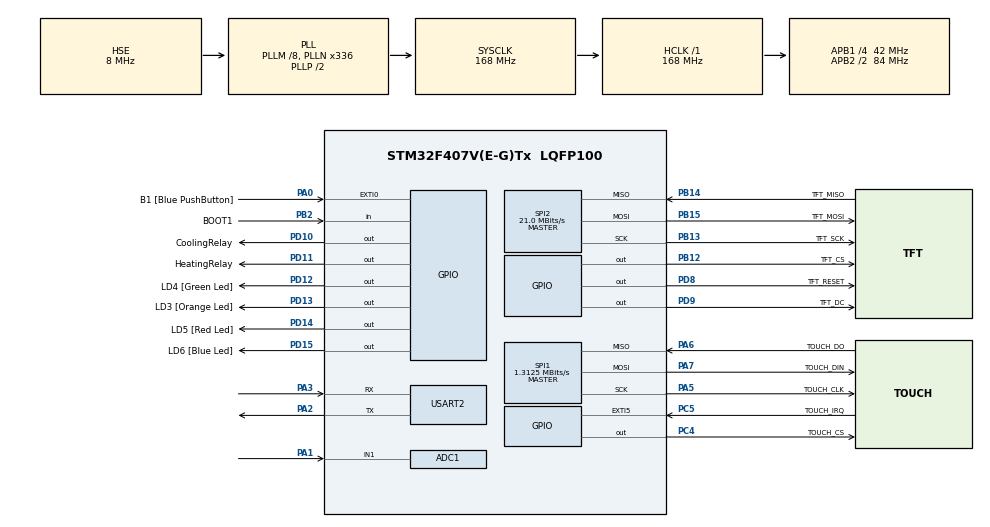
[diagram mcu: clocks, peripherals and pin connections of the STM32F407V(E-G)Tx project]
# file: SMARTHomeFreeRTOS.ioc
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ADC1.Channel-2\#ChannelRegularConversion=ADC_CHANNEL_1
ADC1.ContinuousConvMode=DISABLE
ADC1.EOCSelection=ADC_EOC_SINGLE_CONV
ADC1.NbrOfConversionFlag=1
ADC1.Rank-2\#ChannelRegularConversion=1
ADC1.Resolution=ADC_RESOLUTION_12B
ADC1.SamplingTime-2\#ChannelRegularConversion=ADC_SAMPLETIME_3CYCLES
ADC1.master=1
Dma.Request0=SPI2_TX
Dma.SPI2_TX.0.Direction=DMA_MEMORY_TO_PERIPH
Dma.SPI2_TX.0.FIFOMode=DMA_FIFOMODE_DISABLE
Dma.SPI2_TX.0.Instance=DMA1_Stream4
Dma.SPI2_TX.0.MemDataAlignment=DMA_MDATAALIGN_HALFWORD
Dma.SPI2_TX.0.MemInc=DMA_MINC_ENABLE
Dma.SPI2_TX.0.Mode=DMA_NORMAL
Dma.SPI2_TX.0.PeriphDataAlignment=DMA_PDATAALIGN_HALFWORD
Dma.SPI2_TX.0.PeriphInc=DMA_PINC_DISABLE
Dma.SPI2_TX.0.Priority=DMA_PRIORITY_LOW
Mcu.Family=STM32F4
Mcu.Name=STM32F407V(E-G)Tx
Mcu.Package=LQFP100
NVIC.ADC_IRQn=true\:7\:0\:true\:false\:true\:true\:true\:true
NVIC.DMA1_Stream4_IRQn=true\:0\:0\:true\:true\:true\:2\:false\:true\:true
NVIC.EXTI9_5_IRQn=true\:0\:0\:true\:true\:true\:1\:true\:true\:true
NVIC.PriorityGroup=NVIC_PRIORITYGROUP_4
NVIC.TIM6_DAC_IRQn=true\:15\:0\:false\:false\:true\:false\:true\:true
NVIC.TimeBase=TIM6_DAC_IRQn
NVIC.TimeBaseIP=TIM6
NVIC.USART2_IRQn=true\:0\:0\:true\:false\:false\:true\:true\:true
PA0-WKUP.GPIO_Label=B1 [Blue PushButton]
PA0-WKUP.GPIO_ModeDefaultEXTI=GPIO_MODE_EVT_RISING
PA0-WKUP.GPIO_PuPd=GPIO_NOPULL
PA0-WKUP.Signal=GPXTI0
PA1.Signal=ADCx_IN1
PA2.Mode=Asynchronous
PA2.Signal=USART2_TX
PA3.Mode=Asynchronous
PA3.Signal=USART2_RX
PA5.GPIO_Label=TOUCH_CLK
PA5.Mode=Full_Duplex_Master
PA5.Signal=SPI1_SCK
PA6.GPIO_Label=TOUCH_DO
PA6.Mode=Full_Duplex_Master
PA6.Signal=SPI1_MISO
PA7.GPIO_Label=TOUCH_DIN
PA7.Mode=Full_Duplex_Master
PA7.Signal=SPI1_MOSI
PB12.GPIO_Label=TFT_CS
PB12.PinState=GPIO_PIN_RESET
PB12.Signal=GPIO_Output
PB13.GPIO_Label=TFT_SCK
PB13.Mode=Full_Duplex_Master
PB13.Signal=SPI2_SCK
PB14.GPIO_Label=TFT_MISO
PB14.Mode=Full_Duplex_Master
PB14.Signal=SPI2_MISO
PB15.GPIO_Label=TFT_MOSI
PB15.Mode=Full_Duplex_Master
PB15.Signal=SPI2_MOSI
PB2.GPIO_Label=BOOT1
PB2.GPIO_Mode=GPIO_MODE_INPUT
PB2.GPIO_PuPd=GPIO_NOPULL
PB2.Signal=GPIO_Input
PC14-OSC32_IN.GPIO_Label=PC14-OSC32_IN
PC14-OSC32_IN.Mode=LSE-External-Oscillator
PC14-OSC32_IN.Signal=RCC_OSC32_IN
PC15-OSC32_OUT.GPIO_Label=PC15-OSC32_OUT
PC15-OSC32_OUT.Mode=LSE-External-Oscillator
PC15-OSC32_OUT.Signal=RCC_OSC32_OUT
PC4.GPIO_Label=TOUCH_CS
PC4.PinState=GPIO_PIN_SET
PC4.Signal=GPIO_Output
PC5.GPIO_Label=TOUCH_IRQ
PC5.GPIO_ModeDefaultEXTI=GPIO_MODE_IT_FALLING
PC5.GPIO_PuPd=GPIO_PULLUP
PC5.Signal=GPXTI5
PD10.GPIO_Label=CoolingRelay
PD10.PinState=GPIO_PIN_SET
PD10.Signal=GPIO_Output
PD11.GPIO_Label=HeatingRelay
PD11.PinState=GPIO_PIN_SET
PD11.Signal=GPIO_Output
PD12.GPIO_Label=LD4 [Green Led]
PD12.GPIO_PuPd=GPIO_NOPULL
PD12.GPIO_Speed=GPIO_SPEED_FREQ_LOW
PD12.Signal=GPIO_Output
PD13.GPIO_Label=LD3 [Orange Led]
PD13.GPIO_PuPd=GPIO_NOPULL
PD13.GPIO_Speed=GPIO_SPEED_FREQ_LOW
PD13.Signal=GPIO_Output
PD14.GPIO_Label=LD5 [Red Led]
PD14.GPIO_PuPd=GPIO_NOPULL
PD14.GPIO_Speed=GPIO_SPEED_FREQ_LOW
PD14.Signal=GPIO_Output
PD15.GPIO_Label=LD6 [Blue Led]
PD15.GPIO_PuPd=GPIO_NOPULL
PD15.GPIO_Speed=GPIO_SPEED_FREQ_LOW
PD15.Signal=GPIO_Output
PD8.GPIO_Label=TFT_RESET
PD8.Signal=GPIO_Output
PD9.GPIO_Label=TFT_DC
PD9.Signal=GPIO_Output
PH0-OSC_IN.GPIO_Label=PH0-OSC_IN
PH0-OSC_IN.Mode=HSE-External-Oscillator
PH0-OSC_IN.Signal=RCC_OSC_IN
PH1-OSC_OUT.GPIO_Label=PH1-OSC_OUT
PH1-OSC_OUT.Mode=HSE-External-Oscillator
PH1-OSC_OUT.Signal=RCC_OSC_OUT
ProjectManager.HeapSize=0x200
ProjectManager.StackSize=0x400
ProjectManager.TargetToolchain=STM32CubeIDE
RCC.48MHZClocksFreq_Value=48000000
RCC.AHBFreq_Value=168000000
RCC.APB1CLKDivider=RCC_HCLK_DIV4
RCC.APB1Freq_Value=42000000
RCC.APB1TimFreq_Value=84000000
RCC.APB2CLKDivider=RCC_HCLK_DIV2
RCC.APB2Freq_Value=84000000
RCC.APB2TimFreq_Value=168000000
RCC.CortexFreq_Value=168000000
RCC.HCLKFreq_Value=168000000
RCC.HSE_VALUE=8000000
RCC.HSI_VALUE=16000000
RCC.PLLM=8
RCC.PLLN=336
RCC.PLLQ=7
RCC.PLLSourceVirtual=RCC_PLLSOURCE_HSE
RCC.SYSCLKFreq_VALUE=168000000
RCC.SYSCLKSource=RCC_SYSCLKSOURCE_PLLCLK
RCC.VCOOutputFreq_Value=336000000
RTC.Date=13
RTC.Format=RTC_FORMAT_BIN
RTC.HourFormat=RTC_HOURFORMAT_12
RTC.Minutes=30
RTC.Month=RTC_MONTH_AUGUST
RTC.TimeFormat=RTC_HOURFORMAT12_AM
RTC.WeekDay=RTC_WEEKDAY_TUESDAY
RTC.Year=24
SH.ADCx_IN1.0=ADC1_IN1,IN1
SPI1.BaudRatePrescaler=SPI_BAUDRATEPRESCALER_64
SPI1.CalculateBaudRate=1.3125 MBits/s
SPI1.Direction=SPI_DIRECTION_2LINES
SPI1.Mode=SPI_MODE_MASTER
SPI1.VirtualType=VM_MASTER
SPI2.BaudRatePrescaler=SPI_BAUDRATEPRESCALER_2
SPI2.CalculateBaudRate=21.0 MBits/s
SPI2.Direction=SPI_DIRECTION_2LINES
SPI2.Mode=SPI_MODE_MASTER
SPI2.VirtualType=VM_MASTER
USART2.VirtualMode=VM_ASYNC
VP_RTC_VS_RTC_Activate.Mode=RTC_Enabled
VP_RTC_VS_RTC_Calendar.Mode=RTC_Calendar
VP_SYS_VS_tim6.Mode=TIM6
board=STM32F407G-DISC1

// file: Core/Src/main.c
/* USER CODE BEGIN Header */

/* USER CODE END Header */
#include "main.h"

/* USER CODE BEGIN PM */

#define ILI_SCR_HORIZONTAL 320
#define ILI_SCR_VERTICAL   240
#define BUFFOR_SCR_ROWS 40

/* USER CODE END PM */

ADC_HandleTypeDef hadc1;

RTC_HandleTypeDef hrtc;

SPI_HandleTypeDef hspi1;
SPI_HandleTypeDef hspi2;
DMA_HandleTypeDef hdma_spi2_tx;

UART_HandleTypeDef huart2;

/* USER CODE BEGIN PV */

//Task Handles
TaskHandle_t lvglTaskHandle;
TaskHandle_t temperatureTaskHandle;
TaskHandle_t temperatureSensorTaskHandle;
TaskHandle_t rtcTaskHandle;
TaskHandle_t wifiTaskkHandle;
TaskHandle_t weatherTaskkHandle;

//Mutex Handle
SemaphoreHandle_t lvglMutex;

//Queue Handle
QueueHandle_t adcRawDataQueue;

//RTC Structures
RTC_DateTypeDef gDate;
RTC_TimeTypeDef gTime;

//LVGL
lv_indev_drv_t indev_drv;
static lv_disp_draw_buf_t disp_buf;
static lv_color_t buf_1[ILI_SCR_HORIZONTAL * BUFFOR_SCR_ROWS] ;
static lv_disp_drv_t disp_drv;

//Global Variables
char timeArray[14] = {0};
char dateArray[21] = {0};

/* USER CODE END PV */

void SystemClock_Config(void);
static void MX_GPIO_Init(void);
static void MX_DMA_Init(void);
static void MX_SPI1_Init(void);
static void MX_SPI2_Init(void);
static void MX_ADC1_Init(void);
static void MX_RTC_Init(void);
static void MX_USART2_UART_Init(void);
static void MX_NVIC_Init(void);
/* USER CODE BEGIN PFP */

void lcdInit(void);
void LVGLTask(void *parameters);
void temperatureControlTask(void *parameters);
void temperatureSensorTask(void *parameters);
void rtcTask(void *parameters);
void wifiTask(void *parameters);
void weatherTask(void *parameters);

/* USER CODE END PFP */

int main(void)
{

  /* MCU Configuration--------------------------------------------------------*/

  /* Reset of all peripherals, Initializes the Flash interface and the Systick. */
  HAL_Init();

  /* Configure the system clock */
  SystemClock_Config();

  /* Initialize all configured peripherals */
  MX_GPIO_Init();
  MX_DMA_Init();
  MX_SPI1_Init();
  MX_SPI2_Init();
  MX_ADC1_Init();
  MX_RTC_Init();
  MX_USART2_UART_Init();

  /* Initialize interrupts */
  MX_NVIC_Init();
  /* USER CODE BEGIN 2 */
  BaseType_t status;

  //Display Initialization
  lcdInit();

  /*************MUTEX CREATION***********************/
  lvglMutex = xSemaphoreCreateMutex();

  /*************QUEUE CREATION***********************/
  //Raw ADC value queue
  adcRawDataQueue = xQueueCreate(2,sizeof(uint16_t));
  configASSERT(adcRawDataQueue != NULL);

  /*************TASK CREATION***********************/
  //LVGL Task
  if(lvglMutex != NULL)
  {
	  status = xTaskCreate(LVGLTask, "LVGLTask", 2048, NULL, 2, &lvglTaskHandle);
	  configASSERT(status == pdPASS);
  }

  //Temperature Relay Control Task
  status = xTaskCreate(temperatureControlTask, "temperatureControlTask", 1024, NULL, 1, &temperatureTaskHandle);
  configASSERT(status == pdPASS);

  //Temperature Sensor Task
  status = xTaskCreate(temperatureSensorTask, "temperatureSensorTask", 1024, NULL, 1, &temperatureSensorTaskHandle);
  configASSERT(status == pdPASS);

  //RTC Task
  status = xTaskCreate(rtcTask, "rtcTask", 1024, NULL, 1, &rtcTaskHandle);
  configASSERT(status == pdPASS);

  //WiFi Task
  status = xTaskCreate(wifiTask, "wifiTask", 10240, NULL, 1, &wifiTaskkHandle);
  configASSERT(status == pdPASS)

  //Weather Task
  status = xTaskCreate(weatherTask, "weatherTask", 1024, NULL, 1, &weatherTaskkHandle);
  configASSERT(status == pdPASS)

  //Start Scheduler
  vTaskStartScheduler();

  /* USER CODE END 2 */

  /* Infinite loop */
  while (1)
  {

  }
}

void SystemClock_Config(void)
{
  RCC_OscInitTypeDef RCC_OscInitStruct = {0};
  RCC_ClkInitTypeDef RCC_ClkInitStruct = {0};

  /** Configure the main internal regulator output voltage
  */
  __HAL_RCC_PWR_CLK_ENABLE();
  __HAL_PWR_VOLTAGESCALING_CONFIG(PWR_REGULATOR_VOLTAGE_SCALE1);

  /** Initializes the RCC Oscillators according to the specified parameters
  * in the RCC_OscInitTypeDef structure.
  */
  RCC_OscInitStruct.OscillatorType = RCC_OSCILLATORTYPE_LSI|RCC_OSCILLATORTYPE_HSE;
  RCC_OscInitStruct.HSEState = RCC_HSE_ON;
  RCC_OscInitStruct.LSIState = RCC_LSI_ON;
  RCC_OscInitStruct.PLL.PLLState = RCC_PLL_ON;
  RCC_OscInitStruct.PLL.PLLSource = RCC_PLLSOURCE_HSE;
  RCC_OscInitStruct.PLL.PLLM = 8;
  RCC_OscInitStruct.PLL.PLLN = 336;
  RCC_OscInitStruct.PLL.PLLP = RCC_PLLP_DIV2;
  RCC_OscInitStruct.PLL.PLLQ = 7;
  if (HAL_RCC_OscConfig(&RCC_OscInitStruct) != HAL_OK)
  {
    Error_Handler();
  }

  /** Initializes the CPU, AHB and APB buses clocks
  */
  RCC_ClkInitStruct.ClockType = RCC_CLOCKTYPE_HCLK|RCC_CLOCKTYPE_SYSCLK
                              |RCC_CLOCKTYPE_PCLK1|RCC_CLOCKTYPE_PCLK2;
  RCC_ClkInitStruct.SYSCLKSource = RCC_SYSCLKSOURCE_PLLCLK;
  RCC_ClkInitStruct.AHBCLKDivider = RCC_SYSCLK_DIV1;
  RCC_ClkInitStruct.APB1CLKDivider = RCC_HCLK_DIV4;
  RCC_ClkInitStruct.APB2CLKDivider = RCC_HCLK_DIV2;

  if (HAL_RCC_ClockConfig(&RCC_ClkInitStruct, FLASH_LATENCY_5) != HAL_OK)
  {
    Error_Handler();
  }
}

/**
  * @brief NVIC Configuration.
  * @retval None
  */
static void MX_NVIC_Init(void)
{
  /* EXTI9_5_IRQn interrupt configuration */
  HAL_NVIC_SetPriority(EXTI9_5_IRQn, 0, 0);
  HAL_NVIC_EnableIRQ(EXTI9_5_IRQn);
  /* DMA1_Stream4_IRQn interrupt configuration */
  HAL_NVIC_SetPriority(DMA1_Stream4_IRQn, 0, 0);
  HAL_NVIC_EnableIRQ(DMA1_Stream4_IRQn);
}

static void MX_ADC1_Init(void)
{

  ADC_ChannelConfTypeDef sConfig = {0};

  /** Configure the global features of the ADC (Clock, Resolution, Data Alignment and number of conversion)
  */
  hadc1.Instance = ADC1;
  hadc1.Init.ClockPrescaler = ADC_CLOCK_SYNC_PCLK_DIV4;
  hadc1.Init.Resolution = ADC_RESOLUTION_12B;
  hadc1.Init.ScanConvMode = DISABLE;
  hadc1.Init.ContinuousConvMode = DISABLE;
  hadc1.Init.DiscontinuousConvMode = DISABLE;
  hadc1.Init.ExternalTrigConvEdge = ADC_EXTERNALTRIGCONVEDGE_NONE;
  hadc1.Init.ExternalTrigConv = ADC_SOFTWARE_START;
  hadc1.Init.DataAlign = ADC_DATAALIGN_RIGHT;
  hadc1.Init.NbrOfConversion = 1;
  hadc1.Init.DMAContinuousRequests = DISABLE;
  hadc1.Init.EOCSelection = ADC_EOC_SINGLE_CONV;
  if (HAL_ADC_Init(&hadc1) != HAL_OK)
  {
    Error_Handler();
  }

  /** Configure for the selected ADC regular channel its corresponding rank in the sequencer and its sample time.
  */
  sConfig.Channel = ADC_CHANNEL_1;
  sConfig.Rank = 1;
  sConfig.SamplingTime = ADC_SAMPLETIME_3CYCLES;
  if (HAL_ADC_ConfigChannel(&hadc1, &sConfig) != HAL_OK)
  {
    Error_Handler();
  }

}

static void MX_RTC_Init(void)
{

  RTC_TimeTypeDef sTime = {0};
  RTC_DateTypeDef sDate = {0};

  /** Initialize RTC Only
  */
  hrtc.Instance = RTC;
  hrtc.Init.HourFormat = RTC_HOURFORMAT_12;
  hrtc.Init.AsynchPrediv = 127;
  hrtc.Init.SynchPrediv = 255;
  hrtc.Init.OutPut = RTC_OUTPUT_DISABLE;
  hrtc.Init.OutPutPolarity = RTC_OUTPUT_POLARITY_HIGH;
  hrtc.Init.OutPutType = RTC_OUTPUT_TYPE_OPENDRAIN;
  if (HAL_RTC_Init(&hrtc) != HAL_OK)
  {
    Error_Handler();
  }

  /** Initialize RTC and set the Time and Date
  */
  sTime.Hours = 1;
  sTime.Minutes = 30;
  sTime.Seconds = 0;
  sTime.TimeFormat = RTC_HOURFORMAT12_AM;
  sTime.DayLightSaving = RTC_DAYLIGHTSAVING_NONE;
  sTime.StoreOperation = RTC_STOREOPERATION_RESET;
  if (HAL_RTC_SetTime(&hrtc, &sTime, RTC_FORMAT_BIN) != HAL_OK)
  {
    Error_Handler();
  }
  sDate.WeekDay = RTC_WEEKDAY_TUESDAY;
  sDate.Month = RTC_MONTH_AUGUST;
  sDate.Date = 13;
  sDate.Year = 24;

  if (HAL_RTC_SetDate(&hrtc, &sDate, RTC_FORMAT_BIN) != HAL_OK)
  {
    Error_Handler();
  }

}

static void MX_SPI1_Init(void)
{

  /* SPI1 parameter configuration*/
  hspi1.Instance = SPI1;
  hspi1.Init.Mode = SPI_MODE_MASTER;
  hspi1.Init.Direction = SPI_DIRECTION_2LINES;
  hspi1.Init.DataSize = SPI_DATASIZE_8BIT;
  hspi1.Init.CLKPolarity = SPI_POLARITY_LOW;
  hspi1.Init.CLKPhase = SPI_PHASE_1EDGE;
  hspi1.Init.NSS = SPI_NSS_SOFT;
  hspi1.Init.BaudRatePrescaler = SPI_BAUDRATEPRESCALER_64;
  hspi1.Init.FirstBit = SPI_FIRSTBIT_MSB;
  hspi1.Init.TIMode = SPI_TIMODE_DISABLE;
  hspi1.Init.CRCCalculation = SPI_CRCCALCULATION_DISABLE;
  hspi1.Init.CRCPolynomial = 10;
  if (HAL_SPI_Init(&hspi1) != HAL_OK)
  {
    Error_Handler();
  }

}

static void MX_SPI2_Init(void)
{

  /* SPI2 parameter configuration*/
  hspi2.Instance = SPI2;
  hspi2.Init.Mode = SPI_MODE_MASTER;
  hspi2.Init.Direction = SPI_DIRECTION_2LINES;
  hspi2.Init.DataSize = SPI_DATASIZE_8BIT;
  hspi2.Init.CLKPolarity = SPI_POLARITY_LOW;
  hspi2.Init.CLKPhase = SPI_PHASE_1EDGE;
  hspi2.Init.NSS = SPI_NSS_SOFT;
  hspi2.Init.BaudRatePrescaler = SPI_BAUDRATEPRESCALER_2;
  hspi2.Init.FirstBit = SPI_FIRSTBIT_MSB;
  hspi2.Init.TIMode = SPI_TIMODE_DISABLE;
  hspi2.Init.CRCCalculation = SPI_CRCCALCULATION_DISABLE;
  hspi2.Init.CRCPolynomial = 10;
  if (HAL_SPI_Init(&hspi2) != HAL_OK)
  {
    Error_Handler();
  }

}

static void MX_USART2_UART_Init(void)
{

  huart2.Instance = USART2;
  huart2.Init.BaudRate = 115200;
  huart2.Init.WordLength = UART_WORDLENGTH_8B;
  huart2.Init.StopBits = UART_STOPBITS_1;
  huart2.Init.Parity = UART_PARITY_NONE;
  huart2.Init.Mode = UART_MODE_TX_RX;
  huart2.Init.HwFlowCtl = UART_HWCONTROL_NONE;
  huart2.Init.OverSampling = UART_OVERSAMPLING_16;
  if (HAL_UART_Init(&huart2) != HAL_OK)
  {
    Error_Handler();
  }

}

static void MX_DMA_Init(void)
{

  /* DMA controller clock enable */
  __HAL_RCC_DMA1_CLK_ENABLE();

}

static void MX_GPIO_Init(void)
{
  GPIO_InitTypeDef GPIO_InitStruct = {0};

  /* GPIO Ports Clock Enable */
  __HAL_RCC_GPIOC_CLK_ENABLE();
  __HAL_RCC_GPIOH_CLK_ENABLE();
  __HAL_RCC_GPIOA_CLK_ENABLE();
  __HAL_RCC_GPIOB_CLK_ENABLE();
  __HAL_RCC_GPIOD_CLK_ENABLE();

  /*Configure GPIO pin Output Level */
  HAL_GPIO_WritePin(TOUCH_CS_GPIO_Port, TOUCH_CS_Pin, GPIO_PIN_SET);

  /*Configure GPIO pin Output Level */
  HAL_GPIO_WritePin(TFT_CS_GPIO_Port, TFT_CS_Pin, GPIO_PIN_RESET);

  /*Configure GPIO pin Output Level */
  HAL_GPIO_WritePin(GPIOD, TFT_RESET_Pin|TFT_DC_Pin|LD4_Pin|LD3_Pin
                          |LD5_Pin|LD6_Pin, GPIO_PIN_RESET);

  /*Configure GPIO pin Output Level */
  HAL_GPIO_WritePin(GPIOD, CoolingRelay_Pin|HeatingRelay_Pin, GPIO_PIN_SET);

  /*Configure GPIO pin : B1_Pin */
  GPIO_InitStruct.Pin = B1_Pin;
  GPIO_InitStruct.Mode = GPIO_MODE_EVT_RISING;
  GPIO_InitStruct.Pull = GPIO_NOPULL;
  HAL_GPIO_Init(B1_GPIO_Port, &GPIO_InitStruct);

  /*Configure GPIO pin : TOUCH_CS_Pin */
  GPIO_InitStruct.Pin = TOUCH_CS_Pin;
  GPIO_InitStruct.Mode = GPIO_MODE_OUTPUT_PP;
  GPIO_InitStruct.Pull = GPIO_NOPULL;
  GPIO_InitStruct.Speed = GPIO_SPEED_FREQ_LOW;
  HAL_GPIO_Init(TOUCH_CS_GPIO_Port, &GPIO_InitStruct);

  /*Configure GPIO pin : TOUCH_IRQ_Pin */
  GPIO_InitStruct.Pin = TOUCH_IRQ_Pin;
  GPIO_InitStruct.Mode = GPIO_MODE_IT_FALLING;
  GPIO_InitStruct.Pull = GPIO_PULLUP;
  HAL_GPIO_Init(TOUCH_IRQ_GPIO_Port, &GPIO_InitStruct);

  /*Configure GPIO pin : BOOT1_Pin */
  GPIO_InitStruct.Pin = BOOT1_Pin;
  GPIO_InitStruct.Mode = GPIO_MODE_INPUT;
  GPIO_InitStruct.Pull = GPIO_NOPULL;
  HAL_GPIO_Init(BOOT1_GPIO_Port, &GPIO_InitStruct);

  /*Configure GPIO pin : TFT_CS_Pin */
  GPIO_InitStruct.Pin = TFT_CS_Pin;
  GPIO_InitStruct.Mode = GPIO_MODE_OUTPUT_PP;
  GPIO_InitStruct.Pull = GPIO_NOPULL;
  GPIO_InitStruct.Speed = GPIO_SPEED_FREQ_LOW;
  HAL_GPIO_Init(TFT_CS_GPIO_Port, &GPIO_InitStruct);

  /*Configure GPIO pins : TFT_RESET_Pin TFT_DC_Pin CoolingRelay_Pin HeatingRelay_Pin
                           LD4_Pin LD3_Pin LD5_Pin LD6_Pin */
  GPIO_InitStruct.Pin = TFT_RESET_Pin|TFT_DC_Pin|CoolingRelay_Pin|HeatingRelay_Pin
                          |LD4_Pin|LD3_Pin|LD5_Pin|LD6_Pin;
  GPIO_InitStruct.Mode = GPIO_MODE_OUTPUT_PP;
  GPIO_InitStruct.Pull = GPIO_NOPULL;
  GPIO_InitStruct.Speed = GPIO_SPEED_FREQ_LOW;
  HAL_GPIO_Init(GPIOD, &GPIO_InitStruct);

}

/* USER CODE BEGIN 4 */

/**************FUNCTIONS**********************/

/********************* Function Description *********************************
 * FUNCTION		:	lcdInit
 *
 * DESCRIPTION	:	This function initializes the LCD along with touch drivers with LVGL
 *
 * PARAMETERS	:	void
 *
 * RETURN		:	void
 *
 * **************************************************************************/
void lcdInit(void)
{
	//Initializing Display
	ILI9341_Init();

	//Initializing Touch
	XPT2046_Init(&hspi1, EXTI9_5_IRQn);

	HAL_Delay(30);

	//Initializing LVGL
	lv_init();

	//Registering Display
	lv_disp_draw_buf_init(&disp_buf, buf_1, NULL, ILI_SCR_HORIZONTAL * BUFFOR_SCR_ROWS);
	lv_disp_drv_init(&disp_drv);            /*Basic initialization*/
	disp_drv.draw_buf = &disp_buf;          /*Set an initialized buffer*/
	disp_drv.flush_cb = ILI9341_flush;        /*Set a flush callback to draw to the display*/
	disp_drv.hor_res = ILI_SCR_HORIZONTAL;                 /*Set the horizontal resolution in pixels*/
	disp_drv.ver_res = ILI_SCR_VERTICAL;                 /*Set the vertical resolution in pixels*/
	lv_disp_drv_register(&disp_drv); /*Register the driver and save the created display objects*/

	//Registering Touch
	lv_indev_drv_init(&indev_drv);
	indev_drv.type =LV_INDEV_TYPE_POINTER;
	indev_drv.read_cb = lvXPT2064_Read;
	lv_indev_drv_register(&indev_drv);

	 HAL_Delay(10);
}

/*********************TASKS**************************/

/********************* Function Description *********************************
 * FUNCTION		:	LVGLTask
 *
 * DESCRIPTION	:	This function handles the LVGL tasks
 *
 * PARAMETERS	:	void *parameters
 *
 * RETURN		:	void
 *
 * **************************************************************************/
void LVGLTask(void *parameters)
{
	//Creating Boot Screen
	if(xSemaphoreTake(lvglMutex,pdMS_TO_TICKS(100)))
	{
		createBootScreen();
		xSemaphoreGive(lvglMutex);
	}

	for(;;)
	{
		if(xSemaphoreTake(lvglMutex,pdMS_TO_TICKS(100)))
		{
			//Getting Touch Data
			XPT2046_Task();
			//lvXPT2064_Read(&indev_drv,(lv_indev_data_t*) &indev_drv.user_data);

			//Updating Homescreen
			if(activeScreen == HOMESCREEN)
			{
				lv_label_set_text_fmt(roomTemperatureLabel, "%d", roomTemperature);
				lv_label_set_text_fmt(timeLabel, "%s",timeArray);
				lv_label_set_text_fmt(dateLabel, "%s",dateArray);
			}

			//LVGL Functions
			lv_task_handler();
			lv_tick_inc(5);  // Assuming FreeRTOS tick is 1 ms
			xSemaphoreGive(lvglMutex);
		}
		vTaskDelay(pdMS_TO_TICKS(5));
	}
}

/********************* Function Description *********************************
 * FUNCTION		:	temperatureControlTask
 *
 * DESCRIPTION	:	This function handles the heating and cooling relays
 *
 * PARAMETERS	:	void *parameters
 *
 * RETURN		:	void
 *
 * **************************************************************************/
void temperatureControlTask(void *parameters)
{
	for(;;)
	{
		if(coolingEnabled)
		{
			if(roomTemperature >= temperature)
			{
				HAL_GPIO_WritePin(CoolingRelay_GPIO_Port, CoolingRelay_Pin, GPIO_PIN_RESET);
			}
			else
			{
				HAL_GPIO_WritePin(CoolingRelay_GPIO_Port, CoolingRelay_Pin, GPIO_PIN_SET);
			}
		}
		else
		{
			HAL_GPIO_WritePin(CoolingRelay_GPIO_Port, CoolingRelay_Pin, GPIO_PIN_SET);
		}

		if(heatingEnabled)
		{
			if(roomTemperature <= temperature)
			{
				HAL_GPIO_WritePin(HeatingRelay_GPIO_Port, HeatingRelay_Pin, GPIO_PIN_RESET);
			}
			else
			{
				HAL_GPIO_WritePin(HeatingRelay_GPIO_Port, HeatingRelay_Pin, GPIO_PIN_SET);
			}
		}
		else
		{
			HAL_GPIO_WritePin(HeatingRelay_GPIO_Port, HeatingRelay_Pin, GPIO_PIN_SET);
		}
	}
}

/********************* Function Description *********************************
 * FUNCTION		:	temperatureSensorTask
 *
 * DESCRIPTION	:	This function handles the Temperature Sensor data from the ADC interrupts
 *
 * PARAMETERS	:	void *parameters
 *
 * RETURN		:	void
 *
 * **************************************************************************/
void temperatureSensorTask(void *parameters)
{
	BaseType_t adcWait;
	uint32_t temp = 0;
	float tempSensorRawValue = 0;
	float tempSensorAverage = 0;
	uint8_t i = 0;

	for(;;)
	{
		if(activeScreen != BOOT)
		{
			//Enabling the ADC in Interrupt Mode
			if(HAL_ADC_Start_IT(&hadc1) != HAL_OK)
			{
				Error_Handler();
			}

			//Waiting to receive ADC data from interrupts
			adcWait = xTaskNotifyWait(0,0,NULL,portMAX_DELAY);
			if(adcWait == pdTRUE)
			{
				//Reading the ADC data
				xQueueReceive(adcRawDataQueue, &temp, portMAX_DELAY);

				//Converting the Value to Voltage
				tempSensorRawValue = (2.7 * temp)/4095;

				if(i != 50)	//Taking average of 50 values
				{
					//Converting Voltage to Temperature
					tempSensorRawValue = ((tempSensorRawValue - 0.5)/0.01);

					if(tempSensorRawValue < 50)
					{
						tempSensorAverage += tempSensorRawValue;
						i++;
					}
				}
				else
				{
					//Converting the Voltage to actual Temperature
					roomTemperature = tempSensorAverage / 50;
					i = 0;
					tempSensorAverage = 0;

					//Disabling the ADC Interrupts
					if(HAL_ADC_Stop_IT(&hadc1) != HAL_OK)
					{
						Error_Handler();
					}
					vTaskDelay(pdMS_TO_TICKS(10000));
				}
			}
		}
	}
}

/********************* Function Description *********************************
 * FUNCTION		:	rtcTask
 *
 * DESCRIPTION	:	This function handles the RTC related task
 *
 * PARAMETERS	:	void *parameters
 *
 * RETURN		:	void
 *
 * **************************************************************************/
void rtcTask(void *parameters)
{
	for(;;)
	{
		if((activeScreen != DATE) && (activeScreen != TIME) && (gettingNTPTime != true))
		{
			/* Get the RTC current Time */
			HAL_RTC_GetTime(&hrtc, &gTime, RTC_FORMAT_BIN);
			/* Get the RTC current Date */
			HAL_RTC_GetDate(&hrtc, &gDate, RTC_FORMAT_BIN);

			sprintf((char*)timeArray,"%02d:%02d %s",gTime.Hours, gTime.Minutes, (gTime.TimeFormat? "PM" : "AM"));

			sprintf((char*)dateArray,"%s, %s %02d",dayOfWeekToString((day_t)gDate.WeekDay), monthToString((month_t)gDate.Month), gDate.Date);
		}
		else if(activeScreen == DATE)
		{
			HAL_RTC_SetDate(&hrtc,&gDate,RTC_FORMAT_BIN);
		}
		else if(activeScreen == TIME)
		{
			HAL_RTC_SetTime(&hrtc,&gTime,RTC_FORMAT_BIN);
		}
	}
}

/********************* Function Description *********************************
 * FUNCTION		:	wifiTask
 *
 * DESCRIPTION	:	This function handles WiFi related task
 *
 * PARAMETERS	:	void *parameters
 *
 * RETURN		:	void
 *
 * **************************************************************************/
void wifiTask(void *parameters)
{
	espInit();

	//Reseting the ESP Module
	if(espReset() != HAL_OK)
	{
		espInitialised = false;
	}

	//Restoring the ESP Module to factory settings
	if(espRestore() != HAL_OK)
	{
		espInitialised = false;
	}

	//Setting the Module to Station Mode
	if(espSetToStationMode() != HAL_OK)
	{
		espInitialised = false;
	}

	//Setting the AP format
	if(espSetApSettings() != HAL_OK)
	{
		espInitialised = false;
	}
	else
	{
		espInitialised = true;
	}

	//Creating the Temperature Screen
	if(xSemaphoreTake(lvglMutex,pdMS_TO_TICKS(100)))
	{
		lv_obj_del(lv_disp_get_scr_act(NULL));
		createTemperatureScreen();
		xSemaphoreGive(lvglMutex);
	}

	for(;;)
	{
		//If the ESP module was not initialised correctly on boot it will try to reinitialize it
		if(activeScreen == WIFITURNINGON)
		{
			//Reseting the ESP Module
			if(espRestore() != HAL_OK)
			{
				espInitialised = false;
			}

			//Setting the Module to Station Mode
			if(espSetToStationMode() != HAL_OK)
			{
				espInitialised = false;
			}

			if(espSetApSettings() != HAL_OK)
			{
				espInitialised = false;

				createWifiErrorMessageBox();
				xSemaphoreGive(lvglMutex);

				vTaskDelay(pdMS_TO_TICKS(5000));

				lv_obj_del(lv_disp_get_scr_act(NULL));
				createNavScreen();
			}
			else	//If Initialization was successful
			{
				espInitialised = true;

				lv_obj_del(lv_disp_get_scr_act(NULL));
				createWifiScreen();
			}
		}

		//Searching WiFi
		if(activeScreen == WIFILOADING)
		{
			//Connecting the Module to the Internet
			if(espGetAvailableNetwork() == HAL_OK)
			{
				if(xSemaphoreTake(lvglMutex,pdMS_TO_TICKS(100)))
				{
					lv_obj_del(lv_disp_get_scr_act(NULL));
					createWifiConnectScreen();

					xSemaphoreGive(lvglMutex);
				}

			}
			else
			{
				if(xSemaphoreTake(lvglMutex,pdMS_TO_TICKS(100)))
				{
					lv_obj_del(lv_disp_get_scr_act(NULL));
					createWifiScreen();

					xSemaphoreGive(lvglMutex);
				}
			}
		}

		//Connecting WiFi
		if(activeScreen == WIFICONNECTING)
		{
			if(espConnect(SSID, PASSWORD) == HAL_OK)
			{
				if(xSemaphoreTake(lvglMutex,pdMS_TO_TICKS(100)))
				{
					createWifiConnectingSuccessfullMessageBox();
					wifiConnected = true;
					xSemaphoreGive(lvglMutex);
				}

				vTaskDelay(pdMS_TO_TICKS(5000));

				if(xSemaphoreTake(lvglMutex,pdMS_TO_TICKS(100)))
				{
					lv_obj_del(wifiConnectingMessageBox);
					lv_obj_del(wifiConnectingSuccessfullMessageBox);
					lv_obj_del(wifiPasswordScreen);
					createWifiScreen();
					xSemaphoreGive(lvglMutex);
				}

				if(wifiConnected)
				{
					getGeolocation();
					getNTPTime();
				}
			}
			else
			{
				if(xSemaphoreTake(lvglMutex,pdMS_TO_TICKS(100)))
				{
					createWifiConnectingFailedMessageBox();
					wifiConnected = false;
					xSemaphoreGive(lvglMutex);
				}

				vTaskDelay(pdMS_TO_TICKS(5000));

				if(xSemaphoreTake(lvglMutex,pdMS_TO_TICKS(100)))
				{
					lv_obj_del(wifiConnectingMessageBox);
					lv_obj_del(wifiConnectingFailedMessageBox);
					lv_obj_del(wifiPasswordScreen);
					createWifiConnectScreen();
					xSemaphoreGive(lvglMutex);
				}
			}
		}
	}
}

/********************* Function Description *********************************
 * FUNCTION		:	weatherTask
 *
 * DESCRIPTION	:	This function handles weather related tsdk
 *
 * PARAMETERS	:	void *parameters
 *
 * RETURN		:	void
 *
 * **************************************************************************/
void weatherTask(void *parameters)
{
	for(;;)
	{
		if((wifiConnected) && (gotlocation) && (gotNTP))
		{
			getWeather();
			if(activeScreen == HOMESCREEN)
			{
				if(xSemaphoreTake(lvglMutex,pdMS_TO_TICKS(100)))
				{
					lv_label_set_text_fmt(weatherTemperatureLabel, "%d°", weatherTemperature);
					lv_label_set_text_fmt(weatherCelciusLabel, "%s", weatherType);
					setWeatherIcon();
					xSemaphoreGive(lvglMutex);
				}
			}

			//Get weather update every 10mins
			vTaskDelay(pdMS_TO_TICKS(600000));
		}
	}
}

/*****************IRQ HANDLERS********************/
//UART IRQ Handler for ESP module
void USART2_IRQHandler(void)
{
	espIRQHandler();
}

//Touch IRQ
void HAL_GPIO_EXTI_Callback(uint16_t GPIO_Pin)
{
	if(GPIO_Pin == TOUCH_IRQ_Pin)
	{
		XPT2046_IRQ();
	}
}

//Temp Sensor IRQ
void HAL_ADC_ConvCpltCallback(ADC_HandleTypeDef *hadc)
{
	//Get the RAW ADC Value
	uint32_t adcRawValue = HAL_ADC_GetValue(hadc);

	//Store the RAW value in Queue
	if(!(xQueueIsQueueFullFromISR(adcRawDataQueue)))	//If queue is not full
	{
		//Enqueue data
		xQueueSendFromISR(adcRawDataQueue,(void*)&adcRawValue,NULL);
		//Notify Task
		xTaskNotifyFromISR(temperatureSensorTaskHandle,0,eNoAction,NULL);
	}
}

/* USER CODE END 4 */

void HAL_TIM_PeriodElapsedCallback(TIM_HandleTypeDef *htim)
{
  if (htim->Instance == TIM6) {
    HAL_IncTick();
  }
}

void Error_Handler(void)
{
  __disable_irq();
  while (1)
  {
  }
}
